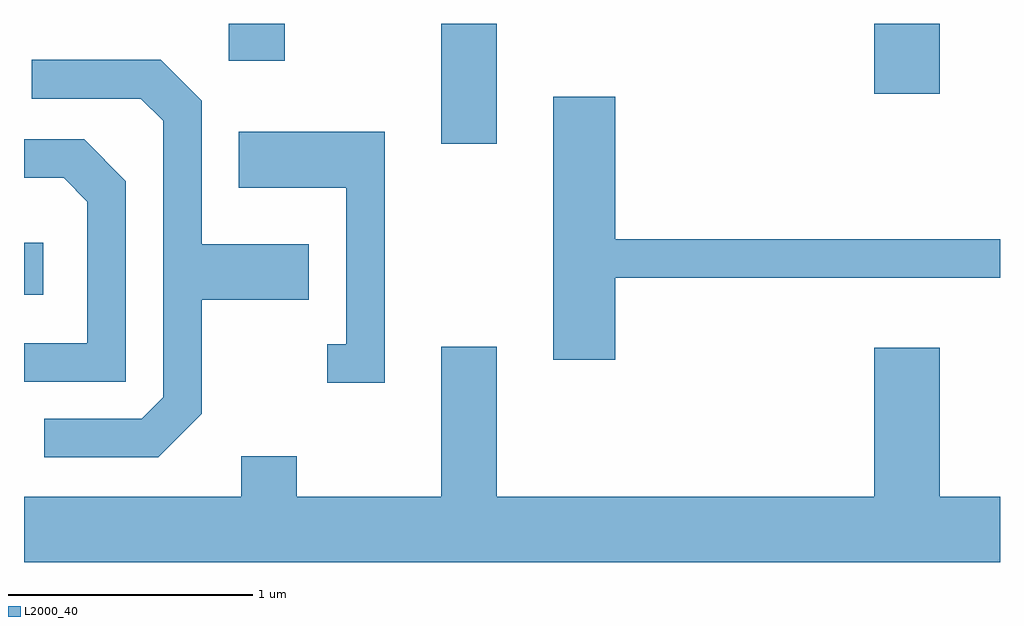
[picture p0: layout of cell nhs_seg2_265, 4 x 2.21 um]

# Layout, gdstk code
import gdstk
lib = gdstk.Library(unit=1e-6, precision=1e-09)
def R(c, l, rs):  # rectangles x0, y0, x1, y1
    for r in rs: c.add(gdstk.rectangle(r[:2], r[2:], *l))
def P(c, l, *ps):  # polygons
    for p in ps: c.add(gdstk.Polygon(p, *l))
L2000_40 = (2000, 40)

nhs_seg2_265 = lib.new_cell('nhs_seg2_265')
R(nhs_seg2_265, L2000_40, [(191.611,1102.691,191.689,1102.904), (193.321,1103.311,193.549,1103.802), (195.096,1103.516,195.364,1103.802), (192.451,1103.651,192.679,1103.802)])
P(nhs_seg2_265, L2000_40, [(192.339,1102.204),(192.339,1102.671),(192.779,1102.671),(192.779,1102.899),(192.339,1102.899),(192.339,1103.487),(192.172,1103.654),(191.643,1103.654),(191.643,1103.496),(192.089,1103.496),(192.181,1103.404),(192.181,1102.272),(192.094,1102.184),(191.693,1102.184),(191.693,1102.026),(192.162,1102.026)],
  [(194.034,1102.761),(195.611,1102.761),(195.611,1102.919),(194.034,1102.919),(194.034,1103.504),(193.781,1103.504),(193.781,1102.426),(194.034,1102.426)],
  [(193.089,1103.359),(192.491,1103.359),(192.491,1103.131),(192.931,1103.131),(192.931,1102.489),(192.853,1102.489),(192.853,1102.331),(193.089,1102.331)],
  [(192.029,1103.157),(191.857,1103.329),(191.611,1103.329),(191.611,1103.171),(191.774,1103.171),(191.871,1103.074),(191.871,1102.494),(191.611,1102.494),(191.611,1102.336),(192.029,1102.336)],
  [(195.611,1101.864),(195.364,1101.864),(195.364,1102.474),(195.096,1102.474),(195.096,1101.864),(193.549,1101.864),(193.549,1102.479),(193.321,1102.479),(193.321,1101.864),(192.729,1101.864),(192.729,1102.029),(192.501,1102.029),(192.501,1101.864),(191.611,1101.864),(191.611,1101.596),(195.611,1101.596)])

lib.write_gds('nhs_seg2_265.gds')
